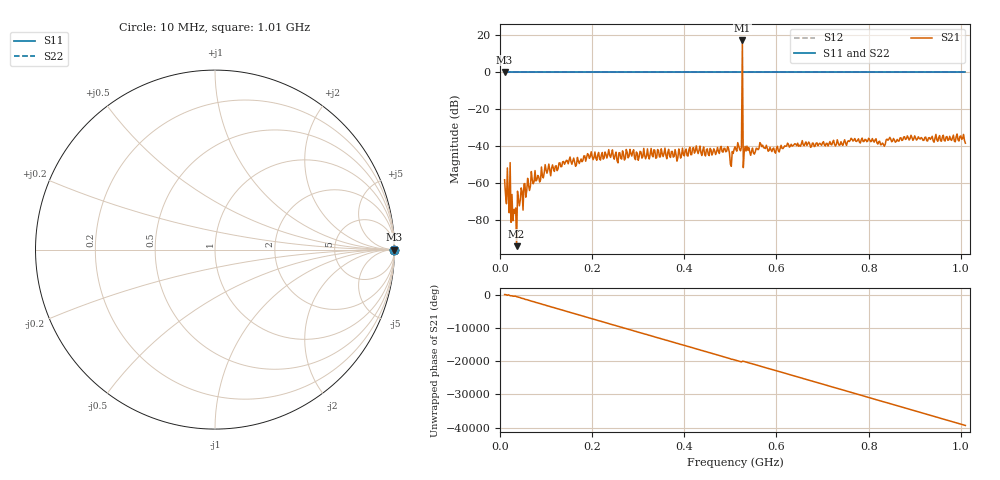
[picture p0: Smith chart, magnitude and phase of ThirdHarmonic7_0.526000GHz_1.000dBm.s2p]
! 8/17/2025 3:33:15 PM
! C:\ANRITSUVNA\TEMP\TEMP.S2P
! CHANNEL.1
! TR.MEASUREMENT
! RAW.DATA
! RF.CORRECTION.OFF
! AVERAGING.OFF
! IF.BANDWIDTH: 5KHZ
! SWEEPTYPE:  FREQ.SWEEP(Linear)
! Reference Plane Port Info
! PORT:  PORT1  PORT2
! DISTANCE:  0  m  0  m
! TIME:  0  s  0  s
! PHASE.OFFSET:  0  deg.  0  deg.
! LOSS:  0  dB  0  dB
! REF.LOSS:  0  dB  0  dB
! REF.FREQ:  0  Hz  0  Hz
! Power Info
! POWER:  -20  dBm  -20  dBm
! EFF.POWER:  -20  dBm  -20  dBm
! SOURCE.ATTEN:  0  dB  0  dB
! TEST.ATTEN:  0  dB  0  dB
# GHZ S RI R 50.0
! FREQ.GHZ  S11RE  S11IM  S21RE  S21IM  S12RE  S12IM  S22RE  S22IM
!; PortSelection: Port_12
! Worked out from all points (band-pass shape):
!   501 points, 10 MHz to 1.01 GHz, reference 50 ohm
!   highest |S21| = 17.00 dB at 526 MHz (marker M1); lowest = -93.9 dB at 36 MHz (marker M2)
!   |S21| within 3 dB of the highest: 525.8955 MHz to 526.0875 MHz (192 kHz wide, 0.0365 % of centre)
!   lowest |S11| = 0.0 dB at 10 MHz (marker M3)
!   |S11| at or under -10 dB: nowhere
!   |S22| runs from 0.0 to 0.0 dB; largest |S21 - S12| = 8.1
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0.01  1 0  -0.000809 0.000947  1 0  1 0
0.016  1 0  -0.00104 -0.00238  1 0  1 0
0.018  1 0  0.000272 0.00035  1 0  1 0
0.026  1 0  -0.00026 0.000427  1 0  1 0
0.028  1 0  9.6e-05 -1.75e-05  1 0  1 0
0.036  1 0  -1.93e-05 -5.9e-06  1 0  1 0
0.072  1 0  -0.000971 1.25e-05  1 0  1 0
0.178  1 0  -0.00366 -0.00104  1 0  1 0
0.344  1 0  0.00709 -0.00266  1 0  1 0
0.49  1 0  -0.000749 -0.00702  1 0  1 0
0.502  1 0  0.00202 0.00203  1 0  1 0
0.51  1 0  -0.0096 -0.00102  1 0  1 0
0.52  1 0  -0.00613 0.00557  1 0  1 0
0.522  1 0  0.00297 0.00691  1 0  1 0
0.526  1 0  -7.031 0.8629  1 0  1 0
0.53  1 0  -0.00312 0.00618  1 0  1 0
0.532  1 0  0.00899 0.00407  1 0  1 0
0.568  1 0  0.00907 0.00361  1 0  1 0
0.594  1 0  0.00407 0.00798  1 0  1 0
0.678  1 0  0.006 -0.0105  1 0  1 0
0.844  1 0  -0.00579 0.0144  1 0  1 0
1.01  1 0  -0.000626 -0.0121  1 0  1 0
